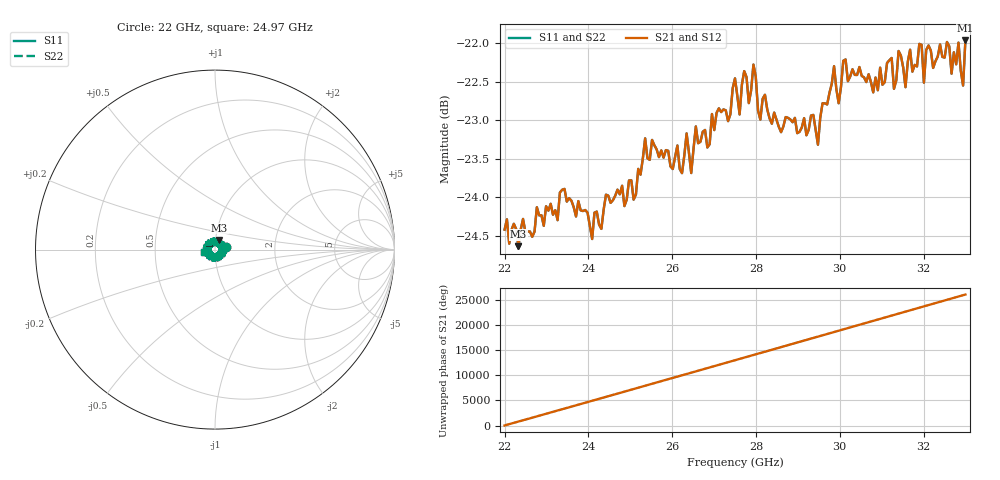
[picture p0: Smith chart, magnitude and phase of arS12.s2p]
!Keysight Technologies,N5224B,MY57181201,A.12.70.07
!Date: Friday, July 15, 2022 11:54:27
!Correction: S11(Response(S12))
!S21(Response(S12))
!S12(Response(S12))
!S22(Response(S12))
!S2P File: Measurements: S11, S21, S12, S22:
# Hz S  dB  R 50
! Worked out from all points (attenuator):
!   201 points, 22 GHz to 33 GHz, reference 50 ohm
!   highest |S21| = -21.97 dB at 33 GHz (marker M1); lowest = -24.6 dB at 22.33 GHz (marker M2)
!   lowest |S11| = -24.6 dB at 22.33 GHz (marker M3), VSWR 1.12, Z = 52.1 + j5.61 ohm
!   |S11| at or under -10 dB: start of sweep to end of sweep
!   |S22| runs from -24.6 to -22.0 dB; largest |S21 - S12| = 0
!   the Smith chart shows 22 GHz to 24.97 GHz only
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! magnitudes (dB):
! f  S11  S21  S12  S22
! 22 GHz  -24.4  -24.4  -24.4  -24.4
! 22.33 GHz  -24.6  -24.6  -24.6  -24.6
! 23.87 GHz  -24.2  -24.2  -24.2  -24.2
! 24.09 GHz  -24.5  -24.5  -24.5  -24.5
! 25.08 GHz  -24.0  -24.0  -24.0  -24.0
! 25.36 GHz  -23.2  -23.2  -23.2  -23.2
! 25.68 GHz  -23.5  -23.5  -23.5  -23.5
! 26.23 GHz  -23.7  -23.7  -23.7  -23.7
! 26.34 GHz  -23.2  -23.2  -23.2  -23.2
! 26.45 GHz  -23.7  -23.7  -23.7  -23.7
! 26.57 GHz  -23.1  -23.1  -23.1  -23.1
! 26.84 GHz  -23.4  -23.4  -23.4  -23.4
! 27.5 GHz  -22.5  -22.5  -22.5  -22.5
! 27.61 GHz  -22.9  -22.9  -22.9  -22.9
! 27.94 GHz  -22.3  -22.3  -22.3  -22.3
! 28.11 GHz  -23.0  -23.0  -23.0  -23.0
! 29.37 GHz  -22.9  -22.9  -22.9  -22.9
! 29.86 GHz  -22.3  -22.3  -22.3  -22.3
! 31.18 GHz  -22.2  -22.2  -22.2  -22.2
! 32.84 GHz  -22.0  -22.0  -22.0  -22.0
! 32.95 GHz  -22.6  -22.6  -22.6  -22.6
! 33 GHz  -22.0  -22.0  -22.0  -22.0
